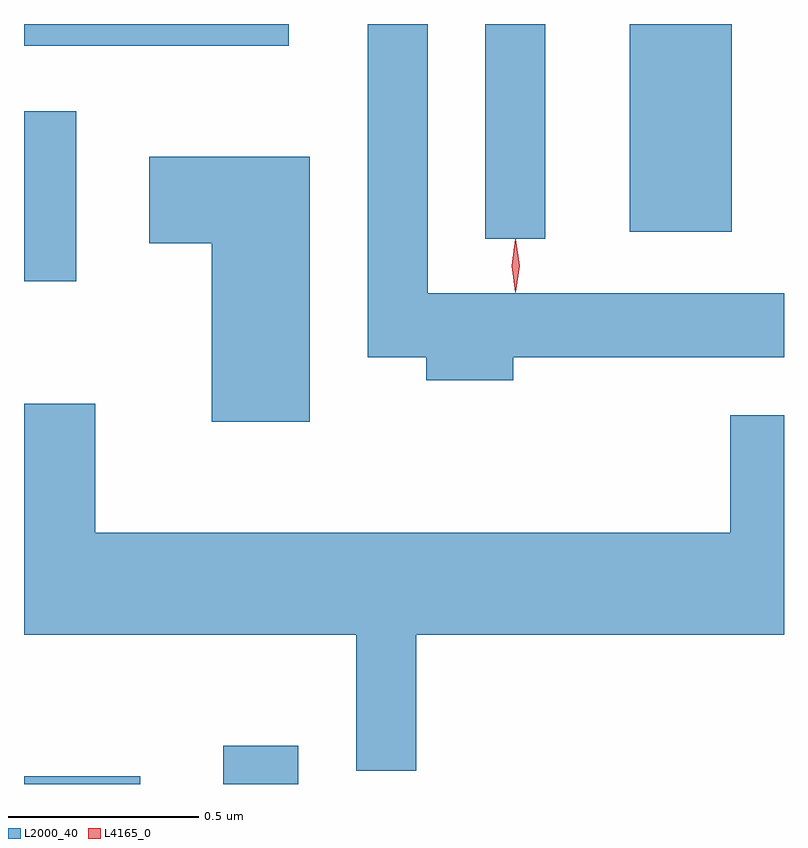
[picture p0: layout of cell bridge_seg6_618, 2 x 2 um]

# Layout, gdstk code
import gdstk
lib = gdstk.Library(unit=1e-6, precision=1e-09)
def R(c, l, rs):  # rectangles x0, y0, x1, y1
    for r in rs: c.add(gdstk.rectangle(r[:2], r[2:], *l))
def P(c, l, *ps):  # polygons
    for p in ps: c.add(gdstk.Polygon(p, *l))
L2000_40 = (2000, 40)
L4165_0 = (4165, 0)

bridge_seg6_618 = lib.new_cell('bridge_seg6_618')
R(bridge_seg6_618, L2000_40, [(403.842,1605.143,404.148,1605.164), (404.366,1605.143,404.564,1605.244), (403.842,1606.466,403.979,1606.914), (405.056,1606.578,405.214,1607.143), (405.436,1606.596,405.704,1607.143), (403.842,1607.086,404.539,1607.143)])
P(bridge_seg6_618, L2000_40, [(405.129,1606.266),(405.842,1606.266),(405.842,1606.434),(404.904,1606.434),(404.904,1607.143),(404.746,1607.143),(404.746,1606.266),(404.901,1606.266),(404.901,1606.206),(405.129,1606.206)],
  [(404.594,1606.794),(404.171,1606.794),(404.171,1606.566),(404.336,1606.566),(404.336,1606.096),(404.594,1606.096)],
  [(404.874,1605.536),(405.842,1605.536),(405.842,1606.114),(405.701,1606.114),(405.701,1605.804),(404.029,1605.804),(404.029,1606.144),(403.842,1606.144),(403.842,1605.536),(404.716,1605.536),(404.716,1605.178),(404.874,1605.178)])
P(bridge_seg6_618, L4165_0, [(405.135,1606.437),(405.125,1606.507),(405.135,1606.576),(405.136,1606.576),(405.136,1606.576),(405.146,1606.507),(405.136,1606.437),(405.136,1606.437)],
  [(405.135,1606.439),(405.135,1606.44),(405.125,1606.506),(405.135,1606.572),(405.135,1606.573),(405.136,1606.572),(405.145,1606.506),(405.136,1606.44)])

lib.write_gds('bridge_seg6_618.gds')
